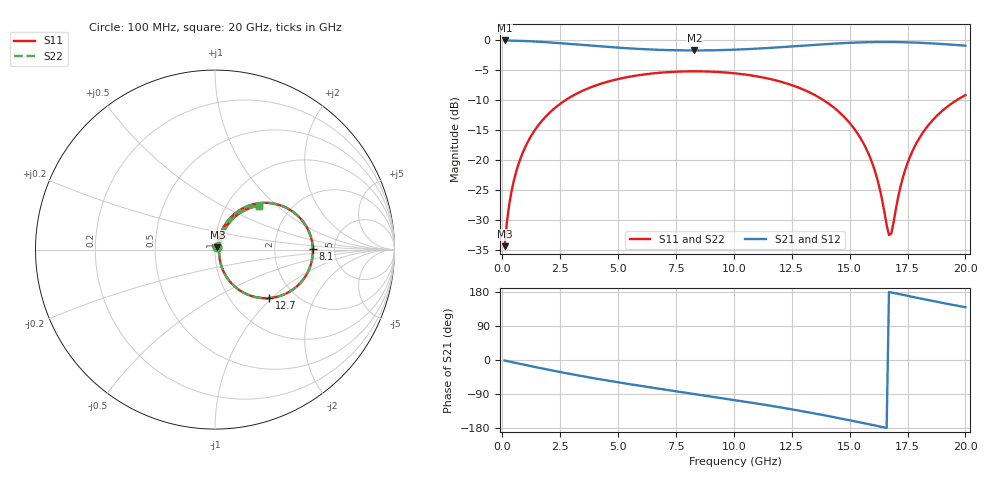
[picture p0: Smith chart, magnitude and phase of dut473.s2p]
! Touchstone file exported from HFSS 2026.1.0
!  File:  C:/ffzhzh/LocalFiles/Ansys_Project_Files/temp_train_TSV_RDL_473_1783103233_35180.aedt
!  Generated:  02:37:39 AM Jul  4, 2026
!  Design:  TSV_RDL
!  Project:  temp_train_TSV_RDL_473_1783103233_35180
! Variables:
!  h_bsmrdl = 5.92um
!  h_ox = 20um
!  h_rdl = 5um
!  h_sub = 50.72um
!  h_tmrdl = 3.8um
!  h_tsv = 50.72um
!  h_via = 3um
!  l_bsmrdl = 722.79um
!  l_sub = 3943.35um
!  l_tmrdl = 310.79um
!  m_sub = 200um
!  pitch = 49.52um
!  r_tsv = 9.74um
!  s_tmrdl = 10um
!  w_bsmrdl = 17.69um
!  w_sub = 500um
!  w_tmrdl = 26.25um
!  x_tsv_center1 = 323.915um
!  x_tsv_center2 = 1064.395um
!  x_tsv_center3 = 1401.435um
!  x_tsv_center4 = 2141.915um
!  x_tsv_center5 = 2478.955um
!  x_tsv_center6 = 3219.435um
# GHz S MA R 50.000000
! Terminal data exported
! Port[1] = TM_RDL1_1_T1
! Port[2] = TM_RDL5_1_T1
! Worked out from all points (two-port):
!   200 points, 100 MHz to 20 GHz, reference 50 ohm
!   highest |S21| = -0.11 dB at 100 MHz (marker M1); lowest = -1.8 dB at 8.3 GHz (marker M2)
!   |S21| within 3 dB of the highest: start of sweep to end of sweep
!   lowest |S11| = -34.4 dB at 100 MHz (marker M3), VSWR 1.04, Z = 51.3 + j1.39 ohm
!   |S11| at or under -10 dB: start of sweep to 2.758 GHz; 13.84 GHz to 19.65 GHz (5.814 GHz wide, 34.7 % of centre)
!   |S22| runs from -34.4 to -5.3 dB; largest |S21 - S12| = 1.7e-14
!   S11 on the Smith chart (normalised r, x): 100 MHz: 1.03, +0.03; 8.1 GHz: 3.40, +0.04; 12.7 GHz: 1.49, -0.97; 20 GHz: 1.40, +0.77
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0.1  0.01897 45.3  0.9869 -1.4  0.9869 -1.4  0.01897 45.3
! Gamma 0 0 0 0
! Port Impedance 50 0 50 0
0.3  0.04223 66.5  0.9849 -4.0  0.9849 -4.0  0.04222 66.5
0.5  0.06696 70.6  0.9827 -6.7  0.9827 -6.7  0.06696 70.6
1.1  0.1404 68.8  0.9737 -14.4  0.9737 -14.4  0.1404 68.8
2.1  0.2523 58.7  0.9487 -26.9  0.9487 -26.9  0.2523 58.7
3.5  0.378 43.6  0.904 -43.1  0.904 -43.1  0.378 43.6
5  0.4702 28.5  0.8593 -58.8  0.8593 -58.8  0.4702 28.5
6.8  0.5306 11.9  0.824 -76.0  0.824 -76.0  0.5306 11.9
8.1  0.5453 0.4  0.8147 -87.9  0.8147 -87.9  0.5453 0.5
8.3  0.5456 -1.3  0.8145 -89.7  0.8145 -89.7  0.5455 -1.3
10.1  0.5235 -17.2  0.8275 -106.2  0.8275 -106.2  0.5235 -17.2
12.7  0.4055 -41.8  0.885 -132.3  0.885 -132.3  0.4055 -41.7
13.4  0.3536 -48.8  0.9044 -140.1  0.9044 -140.1  0.3536 -48.8
14.7  0.234 -61.8  0.9371 -155.3  0.9371 -155.3  0.234 -61.8
15.6  0.1365 -68.6  0.9525 -166.5  0.9525 -166.5  0.1365 -68.6
16.2  0.06838 -66.1  0.9577 -174.1  0.9577 -174.1  0.06838 -66.0
16.7  0.0235 -13.3  0.9584 179.5  0.9584 179.5  0.02353 -13.2
16.8  0.0242 14.5  0.9581 178.3  0.9581 178.3  0.02423 14.6
17.3  0.0709 61.5  0.9548 171.9  0.9548 171.9  0.07092 61.6
17.9  0.1387 63.6  0.9465 164.3  0.9465 164.3  0.1387 63.6
18.8  0.2353 56.7  0.927 153.2  0.927 153.2  0.2353 56.8
20  0.3454 44.9  0.8931 139.3  0.8931 139.3  0.3454 45.0
